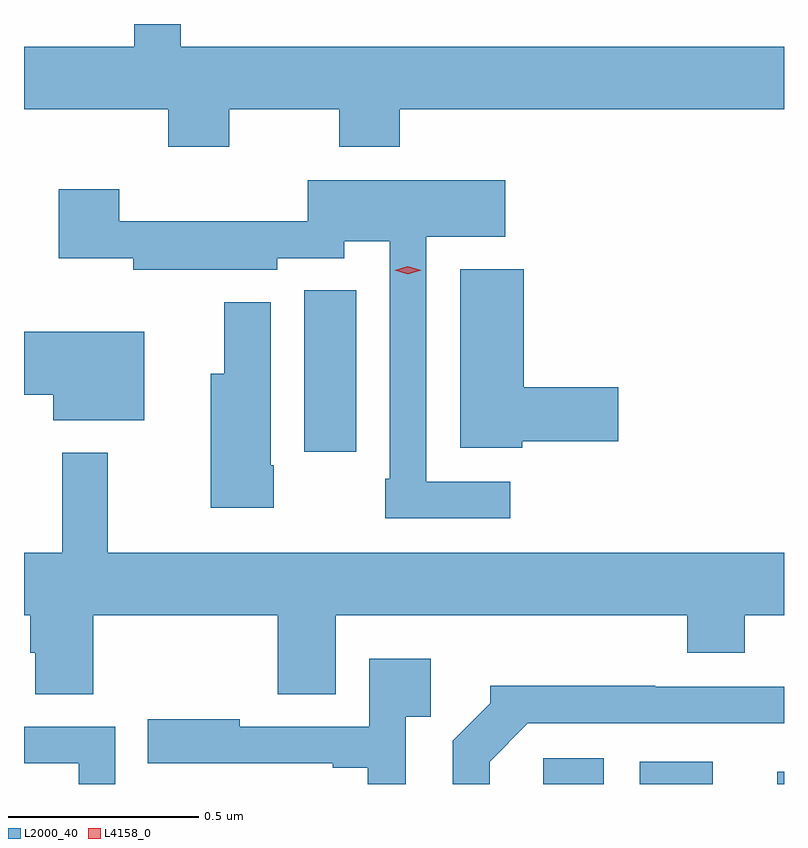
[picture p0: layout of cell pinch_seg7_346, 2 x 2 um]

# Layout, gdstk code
import gdstk
lib = gdstk.Library(unit=1e-6, precision=1e-09)
def R(c, l, rs):  # rectangles x0, y0, x1, y1
    for r in rs: c.add(gdstk.rectangle(r[:2], r[2:], *l))
def P(c, l, *ps):  # polygons
    for p in ps: c.add(gdstk.Polygon(p, *l))
L2000_40 = (2000, 40)
L4158_0 = (4158, 0)

pinch_seg7_346 = lib.new_cell('pinch_seg7_346')
R(pinch_seg7_346, L2000_40, [(449.918,1052.12,450.076,1052.188), (450.171,1052.12,450.364,1052.178), (450.533,1052.12,450.551,1052.152), (449.288,1052.994,449.425,1053.419)])
P(pinch_seg7_346, L2000_40, [(449.091,1053.896),(449.38,1053.896),(449.38,1053.797),(449.54,1053.797),(449.54,1053.896),(450.551,1053.896),(450.551,1054.06),(448.963,1054.06),(448.963,1054.12),(448.841,1054.12),(448.841,1054.06),(448.551,1054.06),(448.551,1053.896),(448.931,1053.896),(448.931,1053.797),(449.091,1053.797)],
  [(449.83,1052.916),(449.61,1052.916),(449.61,1053.56),(449.818,1053.56),(449.818,1053.709),(449.298,1053.709),(449.298,1053.601),(448.802,1053.601),(448.802,1053.685),(448.642,1053.685),(448.642,1053.503),(448.838,1053.503),(448.838,1053.473),(449.218,1053.473),(449.218,1053.504),(449.394,1053.504),(449.394,1053.548),(449.514,1053.548),(449.514,1052.923),(449.502,1052.923),(449.502,1052.82),(449.83,1052.82)],
  [(449.862,1053.022),(450.115,1053.022),(450.115,1053.164),(449.866,1053.164),(449.866,1053.475),(449.699,1053.475),(449.699,1053.005),(449.862,1053.005)],
  [(449.208,1052.959),(449.2,1052.959),(449.2,1053.388),(449.078,1053.388),(449.078,1053.199),(449.042,1053.199),(449.042,1052.847),(449.208,1052.847)],
  [(448.867,1053.31),(448.551,1053.31),(448.551,1053.145),(448.628,1053.145),(448.628,1053.077),(448.867,1053.077)],
  [(448.733,1052.564),(449.219,1052.564),(449.219,1052.356),(449.371,1052.356),(449.371,1052.564),(450.296,1052.564),(450.296,1052.465),(450.448,1052.465),(450.448,1052.564),(450.551,1052.564),(450.551,1052.728),(448.772,1052.728),(448.772,1052.992),(448.651,1052.992),(448.651,1052.728),(448.551,1052.728),(448.551,1052.564),(448.568,1052.564),(448.568,1052.466),(448.58,1052.466),(448.58,1052.356),(448.733,1052.356)],
  [(449.556,1052.297),(449.621,1052.297),(449.621,1052.449),(449.46,1052.449),(449.46,1052.271),(449.119,1052.271),(449.119,1052.29),(448.876,1052.29),(448.876,1052.175),(449.363,1052.175),(449.363,1052.163),(449.455,1052.163),(449.455,1052.12),(449.556,1052.12)],
  [(449.776,1052.179),(449.877,1052.28),(450.551,1052.28),(450.551,1052.376),(450.212,1052.376),(450.212,1052.378),(449.778,1052.378),(449.778,1052.333),(449.679,1052.234),(449.679,1052.12),(449.776,1052.12)],
  [(448.791,1052.271),(448.551,1052.271),(448.551,1052.175),(448.695,1052.175),(448.695,1052.12),(448.791,1052.12)])
P(pinch_seg7_346, L4158_0, [(449.561,1053.462),(449.526,1053.472),(449.526,1053.472),(449.526,1053.472),(449.561,1053.482),(449.596,1053.472),(449.596,1053.472),(449.596,1053.472)])

lib.write_gds('pinch_seg7_346.gds')
